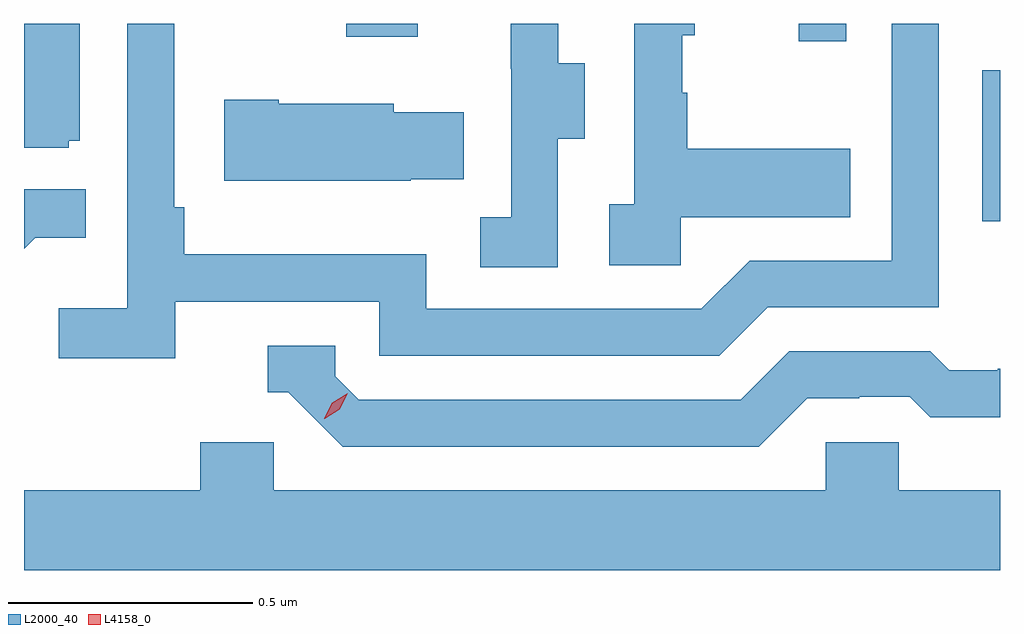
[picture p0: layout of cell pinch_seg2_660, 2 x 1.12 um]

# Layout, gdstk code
import gdstk
lib = gdstk.Library(unit=1e-6, precision=1e-09)
def R(c, l, rs):  # rectangles x0, y0, x1, y1
    for r in rs: c.add(gdstk.rectangle(r[:2], r[2:], *l))
def P(c, l, *ps):  # polygons
    for p in ps: c.add(gdstk.Polygon(p, *l))
L2000_40 = (2000, 40)
L4158_0 = (4158, 0)

pinch_seg2_660 = lib.new_cell('pinch_seg2_660')
R(pinch_seg2_660, L2000_40, [(1048.47,603.063,1048.506,603.372), (1048.094,603.432,1048.191,603.467), (1047.166,603.441,1047.313,603.467)])
P(pinch_seg2_660, L2000_40, [(1046.816,602.898),(1047.234,602.898),(1047.234,602.787),(1047.931,602.787),(1048.03,602.886),(1048.38,602.886),(1048.38,603.467),(1048.284,603.467),(1048.284,602.982),(1047.993,602.982),(1047.894,602.883),(1047.33,602.883),(1047.33,602.995),(1046.834,602.995),(1046.834,603.091),(1046.814,603.091),(1046.814,603.467),(1046.718,603.467),(1046.718,602.884),(1046.577,602.884),(1046.577,602.782),(1046.816,602.782)],
  [(1047.852,603.071),(1048.199,603.071),(1048.199,603.211),(1047.865,603.211),(1047.865,603.326),(1047.855,603.326),(1047.855,603.444),(1047.88,603.444),(1047.88,603.467),(1047.756,603.467),(1047.756,603.098),(1047.705,603.098),(1047.705,602.973),(1047.852,602.973)],
  [(1046.598,603.228),(1046.62,603.228),(1046.62,603.467),(1046.506,603.467),(1046.506,603.213),(1046.598,603.213)],
  [(1047.6,603.232),(1047.655,603.232),(1047.655,603.387),(1047.601,603.387),(1047.601,603.467),(1047.503,603.467),(1047.503,603.375),(1047.504,603.375),(1047.504,603.071),(1047.441,603.071),(1047.441,602.968),(1047.6,602.968)],
  [(1047.299,603.149),(1047.407,603.149),(1047.407,603.286),(1047.264,603.286),(1047.264,603.304),(1047.028,603.304),(1047.028,603.312),(1046.916,603.312),(1046.916,603.146),(1047.299,603.146)],
  [(1046.529,603.029),(1046.633,603.029),(1046.633,603.128),(1046.506,603.128),(1046.506,603.006)],
  [(1048.111,602.7),(1048.218,602.7),(1048.218,602.703),(1048.321,602.703),(1048.363,602.661),(1048.506,602.661),(1048.506,602.76),(1048.501,602.76),(1048.501,602.757),(1048.402,602.757),(1048.363,602.796),(1048.074,602.796),(1047.975,602.697),(1047.192,602.697),(1047.144,602.745),(1047.144,602.808),(1047.005,602.808),(1047.005,602.712),(1047.048,602.712),(1047.159,602.601),(1048.012,602.601)],
  [(1048.506,602.512),(1048.299,602.512),(1048.299,602.61),(1048.149,602.61),(1048.149,602.512),(1047.018,602.512),(1047.018,602.61),(1046.867,602.61),(1046.867,602.512),(1046.506,602.512),(1046.506,602.348),(1048.506,602.348)])
P(pinch_seg2_660, L4158_0, [(1047.121,602.658),(1047.121,602.659),(1047.138,602.691),(1047.169,602.71),(1047.169,602.71),(1047.169,602.71),(1047.153,602.677),(1047.122,602.658)])

lib.write_gds('pinch_seg2_660.gds')
